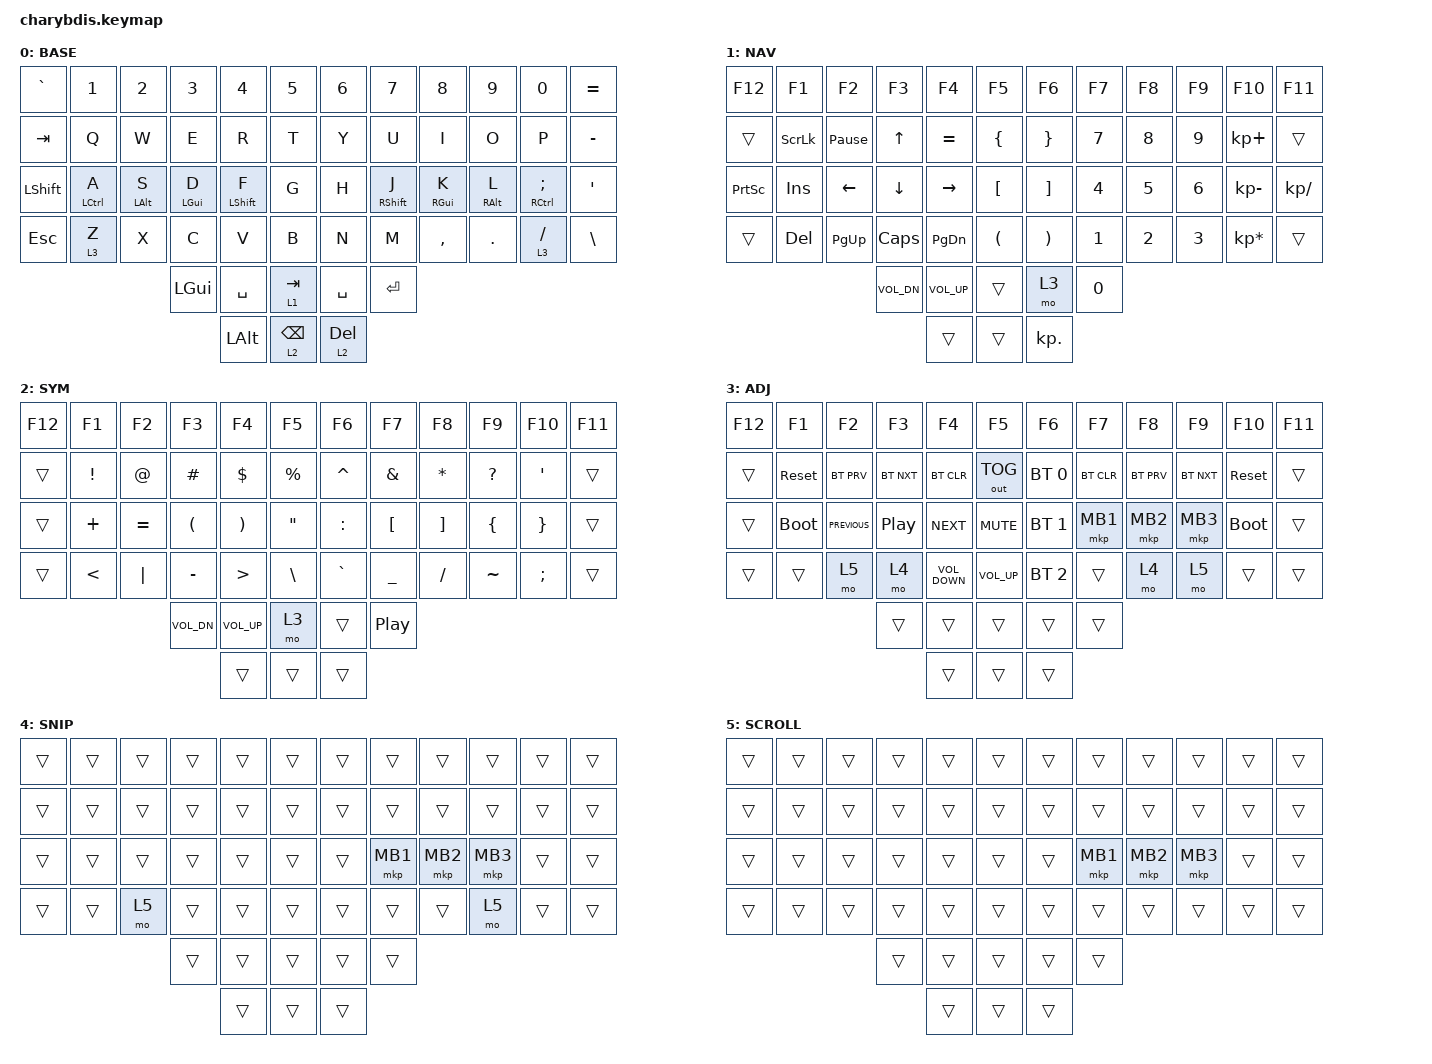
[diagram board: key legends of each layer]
#include <dt-bindings/zmk/mouse.h>
#include <behaviors.dtsi>
#include <dt-bindings/zmk/bt.h>
#include <dt-bindings/zmk/keys.h>
#include <dt-bindings/zmk/outputs.h>
#include <dt-bindings/zmk/pointing.h>

&mt {
    quick-tap-ms = <200>;
    flavor = "tap-preferred";
    tapping-term-ms = <170>;
};

&lt {
    quick-tap-ms = <200>;
    flavor = "tap-preferred";
    tapping-term-ms = <170>;
};

/ {
    combos {
        compatible = "zmk,combos";

        combo_esc {
            timeout-ms = <50>;
            key-positions = <0 1>;
            bindings = <&kp ESC>;
        };
    };

    keymap {
        compatible = "zmk,keymap";

        BASE {
            bindings = <
&kp GRAVE       &kp N1       &kp N2      &kp N3      &kp N4        &kp N5        &kp N6        &kp N7        &kp N8      &kp N9      &kp N0          &kp EQUAL
&kp TAB         &kp Q        &kp W       &kp E       &kp R         &kp T         &kp Y         &kp U         &kp I       &kp O       &kp P           &kp MINUS
&kp LEFT_SHIFT  &mt LCTRL A  &mt LALT S  &mt LGUI D  &mt LSHIFT F  &kp G         &kp H         &mt RSHIFT J  &mt RGUI K  &mt RALT L  &mt RCTRL SEMI  &kp APOS
&kp ESCAPE      &lt 3 Z      &kp X       &kp C       &kp V         &kp B         &kp N         &kp M         &kp COMMA   &kp DOT     &lt 3 SLASH     &kp BACKSLASH
                                         &kp LGUI    &kp SPACE     &lt 1 TAB     &kp SPACE     &kp ENTER
                                                     &kp LEFT_ALT  &lt 2 BSPC    &lt 2 DELETE
            >;
        };

        NAV {
            bindings = <
&kp F12          &kp F1          &kp F2           &kp F3        &kp F4        &kp F5      &kp F6      &kp F7  &kp F8  &kp F9  &kp F10          &kp F11
&trans           &kp SCROLLLOCK  &kp PAUSE_BREAK  &kp UP        &kp EQUAL     &kp LBRC    &kp RBRC    &kp N7  &kp N8  &kp N9  &kp KP_PLUS      &trans
&kp PRINTSCREEN  &kp INSERT      &kp LEFT         &kp DOWN      &kp RIGHT     &kp LBKT    &kp RBKT    &kp N4  &kp N5  &kp N6  &kp KP_MINUS     &kp KP_DIVIDE
&trans           &kp DEL         &kp PG_UP        &kp CAPS      &kp PG_DN     &kp LPAR    &kp RPAR    &kp N1  &kp N2  &kp N3  &kp KP_MULTIPLY  &trans
                                                  &kp C_VOL_DN  &kp C_VOL_UP  &trans      &mo 3       &kp N0
                                                                &trans        &trans      &kp KP_DOT
            >;
        };

        SYM {
            bindings = <
&kp F12  &kp F1         &kp F2     &kp F3        &kp F4            &kp F5           &kp F6     &kp F7            &kp F8     &kp F9        &kp F10        &kp F11
&trans   &kp EXCL       &kp AT     &kp HASH      &kp DLLR          &kp PRCNT        &kp CARET  &kp AMPS          &kp STAR   &kp QUESTION  &kp SQT        &trans
&trans   &kp PLUS       &kp EQUAL  &kp LPAR      &kp RPAR          &kp DQT          &kp COLON  &kp LBKT          &kp RBKT   &kp LBRC      &kp RBRC       &trans
&trans   &kp LESS_THAN  &kp PIPE   &kp MINUS     &kp GREATER_THAN  &kp BACKSLASH    &kp GRAVE  &kp UNDERSCORE    &kp SLASH  &kp TILDE     &kp SEMICOLON  &trans
                                   &kp C_VOL_DN  &kp C_VOL_UP      &mo 3            &trans     &kp C_PLAY_PAUSE
                                                 &trans            &trans           &trans
            >;
        };

        ADJ {
            bindings = <
&kp F12  &kp F1       &kp F2          &kp F3            &kp F4             &kp F5             &kp F6        &kp F7      &kp F8      &kp F9      &kp F10      &kp F11
&trans   &sys_reset   &bt BT_PRV      &bt BT_NXT        &bt BT_CLR         &out OUT_TOG       &bt BT_SEL 0  &bt BT_CLR  &bt BT_PRV  &bt BT_NXT  &sys_reset   &trans
&trans   &bootloader  &kp C_PREVIOUS  &kp C_PLAY_PAUSE  &kp C_NEXT         &kp C_MUTE         &bt BT_SEL 1  &mkp MB1    &mkp MB2    &mkp MB3    &bootloader  &trans
&trans   &trans       &mo 5           &mo 4             &kp C_VOLUME_DOWN  &kp C_VOLUME_UP    &bt BT_SEL 2  &trans      &mo 4       &mo 5       &trans       &trans
                                      &trans            &trans             &trans             &trans        &trans
                                                        &trans             &trans             &trans
            >;
        };

        SNIP {
            bindings = <
&trans  &trans  &trans  &trans  &trans  &trans    &trans  &trans    &trans    &trans    &trans  &trans
&trans  &trans  &trans  &trans  &trans  &trans    &trans  &trans    &trans    &trans    &trans  &trans
&trans  &trans  &trans  &trans  &trans  &trans    &trans  &mkp MB1  &mkp MB2  &mkp MB3  &trans  &trans
&trans  &trans  &mo 5   &trans  &trans  &trans    &trans  &trans    &trans    &mo 5     &trans  &trans
                        &trans  &trans  &trans    &trans  &trans
                                &trans  &trans    &trans
            >;
        };

        SCROLL {
            bindings = <
&trans  &trans  &trans  &trans  &trans  &trans    &trans  &trans    &trans    &trans    &trans  &trans
&trans  &trans  &trans  &trans  &trans  &trans    &trans  &trans    &trans    &trans    &trans  &trans
&trans  &trans  &trans  &trans  &trans  &trans    &trans  &mkp MB1  &mkp MB2  &mkp MB3  &trans  &trans
&trans  &trans  &trans  &trans  &trans  &trans    &trans  &trans    &trans    &trans    &trans  &trans
                        &trans  &trans  &trans    &trans  &trans
                                &trans  &trans    &trans
            >;
        };
    };
};
